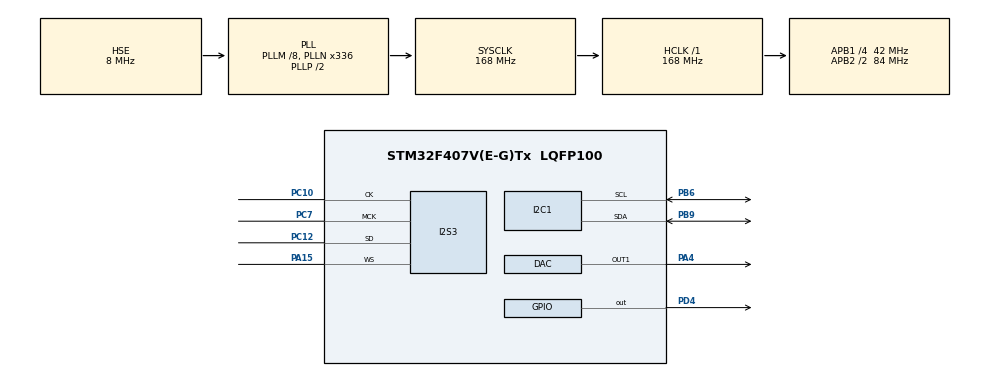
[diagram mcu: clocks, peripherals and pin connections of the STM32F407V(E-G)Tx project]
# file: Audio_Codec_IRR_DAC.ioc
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Dma.Request0=SPI3_TX
Dma.SPI3_TX.0.Direction=DMA_MEMORY_TO_PERIPH
Dma.SPI3_TX.0.FIFOMode=DMA_FIFOMODE_ENABLE
Dma.SPI3_TX.0.FIFOThreshold=DMA_FIFO_THRESHOLD_FULL
Dma.SPI3_TX.0.Instance=DMA1_Stream5
Dma.SPI3_TX.0.MemBurst=DMA_MBURST_SINGLE
Dma.SPI3_TX.0.MemDataAlignment=DMA_MDATAALIGN_HALFWORD
Dma.SPI3_TX.0.MemInc=DMA_MINC_ENABLE
Dma.SPI3_TX.0.Mode=DMA_CIRCULAR
Dma.SPI3_TX.0.PeriphBurst=DMA_PBURST_SINGLE
Dma.SPI3_TX.0.PeriphDataAlignment=DMA_PDATAALIGN_HALFWORD
Dma.SPI3_TX.0.PeriphInc=DMA_PINC_DISABLE
Dma.SPI3_TX.0.Priority=DMA_PRIORITY_LOW
I2S3.AudioFreq=I2S_AUDIOFREQ_48K
I2S3.ErrorAudioFreq=-2.34 %
I2S3.FullDuplexMode=I2S_FULLDUPLEXMODE_DISABLE
I2S3.Instance=SPI$Index
I2S3.RealAudioFreq=46.875 KHz
I2S3.VirtualMode=I2S_MODE_MASTER
Mcu.Family=STM32F4
Mcu.Name=STM32F407V(E-G)Tx
Mcu.Package=LQFP100
NVIC.DMA1_Stream5_IRQn=true\:0\:0\:false\:false\:true\:false\:true
NVIC.PriorityGroup=NVIC_PRIORITYGROUP_0
NVIC.TIM2_IRQn=true\:0\:0\:false\:false\:true\:true\:true
NVIC.TIM8_TRG_COM_TIM14_IRQn=true\:0\:0\:false\:false\:true\:false\:true
NVIC.TimeBase=TIM8_TRG_COM_TIM14_IRQn
NVIC.TimeBaseIP=TIM14
PA15.Mode=Half_Duplex_Master
PA15.Signal=I2S3_WS
PA4.Signal=COMP_DAC1_group
PB6.Mode=I2C
PB6.Signal=I2C1_SCL
PB9.Mode=I2C
PB9.Signal=I2C1_SDA
PC10.Mode=Half_Duplex_Master
PC10.Signal=I2S3_CK
PC12.Mode=Half_Duplex_Master
PC12.Signal=I2S3_SD
PC14-OSC32_IN.Mode=LSE-External-Oscillator
PC14-OSC32_IN.Signal=RCC_OSC32_IN
PC15-OSC32_OUT.Mode=LSE-External-Oscillator
PC15-OSC32_OUT.Signal=RCC_OSC32_OUT
PC7.Mode=Master_Clock_Activated
PC7.Signal=I2S3_MCK
PD4.Signal=GPIO_Output
PH0-OSC_IN.Mode=HSE-External-Oscillator
PH0-OSC_IN.Signal=RCC_OSC_IN
PH1-OSC_OUT.Mode=HSE-External-Oscillator
PH1-OSC_OUT.Signal=RCC_OSC_OUT
ProjectManager.HeapSize=0x200
ProjectManager.StackSize=0x400
ProjectManager.TargetToolchain=STM32CubeIDE
RCC.48MHZClocksFreq_Value=48000000
RCC.AHBFreq_Value=168000000
RCC.APB1CLKDivider=RCC_HCLK_DIV4
RCC.APB1Freq_Value=42000000
RCC.APB1TimFreq_Value=84000000
RCC.APB2CLKDivider=RCC_HCLK_DIV2
RCC.APB2Freq_Value=84000000
RCC.APB2TimFreq_Value=168000000
RCC.CortexFreq_Value=168000000
RCC.HCLKFreq_Value=168000000
RCC.HSE_VALUE=8000000
RCC.HSI_VALUE=16000000
RCC.PLLM=8
RCC.PLLN=336
RCC.PLLQ=7
RCC.PLLSourceVirtual=RCC_PLLSOURCE_HSE
RCC.SYSCLKFreq_VALUE=168000000
RCC.SYSCLKSource=RCC_SYSCLKSOURCE_PLLCLK
RCC.VCOOutputFreq_Value=336000000
SH.COMP_DAC1_group.0=DAC_OUT1,DAC_OUT1
TIM2.Period=20-1
TIM2.Prescaler=84-1
TIM2.TIM_MasterOutputTrigger=TIM_TRGO_UPDATE
VP_SYS_VS_tim14.Mode=TIM14
VP_TIM2_VS_ClockSourceINT.Mode=Internal
board=STM32F407G-DISC1

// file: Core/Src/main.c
/* USER CODE BEGIN Header */
/**
  ******************************************************************************
  * @file           : main.c
  * @brief          : Main program body
  ******************************************************************************
  * @attention
  *
  * <h2><center>&copy; Copyright (c) 2023 STMicroelectronics.
  * All rights reserved.</center></h2>
  *
  * This software component is licensed by ST under BSD 3-Clause license,
  * the "License"; You may not use this file except in compliance with the
  * License. You may obtain a copy of the License at:
  *                        opensource.org/licenses/BSD-3-Clause
  *
  ******************************************************************************
  */
/* USER CODE END Header */
#include "main.h"
#include "stm32f4xx_hal.h"
/* USER CODE BEGIN Includes */
#include "MY_CS43L22.h"
#include <math.h>
/* USER CODE END Includes */

DAC_HandleTypeDef hdac;

I2C_HandleTypeDef hi2c1;

I2S_HandleTypeDef hi2s3;
DMA_HandleTypeDef hdma_spi3_tx;

TIM_HandleTypeDef htim2;

/* USER CODE BEGIN PV */
#define PI 3.14159f

//Sample rate and Output freq
#define F_SAMPLE	48000.0f
#define F_OUT		1500.0f
/* USER CODE END PV */

void SystemClock_Config(void);
static void MX_GPIO_Init(void);
static void MX_DMA_Init(void);
static void MX_DAC_Init(void);
static void MX_I2C1_Init(void);
static void MX_I2S3_Init(void);
static void MX_TIM2_Init(void);

/* USER CODE BEGIN 0 */
float mySinVal;
float sample_dt;
uint16_t sample_N;
uint16_t i_t;

uint32_t myDacVal;

/* USER CODE END 0 */

int main(void)
{
  /* USER CODE BEGIN 1 */
	sample_dt = F_OUT/F_SAMPLE;
	sample_N = F_SAMPLE/F_OUT;
  /* USER CODE END 1 */

  /* MCU Configuration--------------------------------------------------------*/

  /* Reset of all peripherals, Initializes the Flash interface and the Systick. */
  HAL_Init();

  /* Configure the system clock */
  SystemClock_Config();

  /* Initialize all configured peripherals */
  MX_GPIO_Init();
  MX_DMA_Init();
  MX_DAC_Init();
  MX_I2C1_Init();
  MX_I2S3_Init();
  MX_TIM2_Init();
  /* USER CODE BEGIN 2 */
  CS43_Init(hi2c1, MODE_ANALOG_43);
  CS43_SetVolume(50);
  CS43_Enable_RightLeft(CS43_RIGHT_LEFT);
  CS43_Start();
	//Start DAC
		HAL_DAC_Start(&hdac, DAC_CHANNEL_1);
	//Start TIM2
    	HAL_TIM_Base_Start_IT(&htim2);
  /* USER CODE END 2 */

  /* Infinite loop */
  while (1)
  {

  }
}

void SystemClock_Config(void)
{
  RCC_OscInitTypeDef RCC_OscInitStruct = {0};
  RCC_ClkInitTypeDef RCC_ClkInitStruct = {0};

  /** Configure the main internal regulator output voltage
  */
  __HAL_RCC_PWR_CLK_ENABLE();
  __HAL_PWR_VOLTAGESCALING_CONFIG(PWR_REGULATOR_VOLTAGE_SCALE1);
  /** Initializes the RCC Oscillators according to the specified parameters
  * in the RCC_OscInitTypeDef structure.
  */
  RCC_OscInitStruct.OscillatorType = RCC_OSCILLATORTYPE_HSE;
  RCC_OscInitStruct.HSEState = RCC_HSE_ON;
  RCC_OscInitStruct.PLL.PLLState = RCC_PLL_ON;
  RCC_OscInitStruct.PLL.PLLSource = RCC_PLLSOURCE_HSE;
  RCC_OscInitStruct.PLL.PLLM = 8;
  RCC_OscInitStruct.PLL.PLLN = 336;
  RCC_OscInitStruct.PLL.PLLP = RCC_PLLP_DIV2;
  RCC_OscInitStruct.PLL.PLLQ = 7;
  if (HAL_RCC_OscConfig(&RCC_OscInitStruct) != HAL_OK)
  {
    Error_Handler();
  }
  /** Initializes the CPU, AHB and APB buses clocks
  */
  RCC_ClkInitStruct.ClockType = RCC_CLOCKTYPE_HCLK|RCC_CLOCKTYPE_SYSCLK
                              |RCC_CLOCKTYPE_PCLK1|RCC_CLOCKTYPE_PCLK2;
  RCC_ClkInitStruct.SYSCLKSource = RCC_SYSCLKSOURCE_PLLCLK;
  RCC_ClkInitStruct.AHBCLKDivider = RCC_SYSCLK_DIV1;
  RCC_ClkInitStruct.APB1CLKDivider = RCC_HCLK_DIV4;
  RCC_ClkInitStruct.APB2CLKDivider = RCC_HCLK_DIV2;

  if (HAL_RCC_ClockConfig(&RCC_ClkInitStruct, FLASH_LATENCY_5) != HAL_OK)
  {
    Error_Handler();
  }
}

static void MX_DAC_Init(void)
{

  DAC_ChannelConfTypeDef sConfig = {0};

  /** DAC Initialization
  */
  hdac.Instance = DAC;
  if (HAL_DAC_Init(&hdac) != HAL_OK)
  {
    Error_Handler();
  }
  /** DAC channel OUT1 config
  */
  sConfig.DAC_Trigger = DAC_TRIGGER_NONE;
  sConfig.DAC_OutputBuffer = DAC_OUTPUTBUFFER_ENABLE;
  if (HAL_DAC_ConfigChannel(&hdac, &sConfig, DAC_CHANNEL_1) != HAL_OK)
  {
    Error_Handler();
  }

}

static void MX_I2C1_Init(void)
{

  hi2c1.Instance = I2C1;
  hi2c1.Init.ClockSpeed = 100000;
  hi2c1.Init.DutyCycle = I2C_DUTYCYCLE_2;
  hi2c1.Init.OwnAddress1 = 0;
  hi2c1.Init.AddressingMode = I2C_ADDRESSINGMODE_7BIT;
  hi2c1.Init.DualAddressMode = I2C_DUALADDRESS_DISABLE;
  hi2c1.Init.OwnAddress2 = 0;
  hi2c1.Init.GeneralCallMode = I2C_GENERALCALL_DISABLE;
  hi2c1.Init.NoStretchMode = I2C_NOSTRETCH_DISABLE;
  if (HAL_I2C_Init(&hi2c1) != HAL_OK)
  {
    Error_Handler();
  }

}

static void MX_I2S3_Init(void)
{

  hi2s3.Instance = SPI3;
  hi2s3.Init.Mode = I2S_MODE_MASTER_TX;
  hi2s3.Init.Standard = I2S_STANDARD_PHILIPS;
  hi2s3.Init.DataFormat = I2S_DATAFORMAT_16B;
  hi2s3.Init.MCLKOutput = I2S_MCLKOUTPUT_ENABLE;
  hi2s3.Init.AudioFreq = I2S_AUDIOFREQ_48K;
  hi2s3.Init.CPOL = I2S_CPOL_LOW;
  hi2s3.Init.ClockSource = I2S_CLOCK_PLL;
  hi2s3.Init.FullDuplexMode = I2S_FULLDUPLEXMODE_DISABLE;
  if (HAL_I2S_Init(&hi2s3) != HAL_OK)
  {
    Error_Handler();
  }

}

static void MX_TIM2_Init(void)
{

  TIM_ClockConfigTypeDef sClockSourceConfig = {0};
  TIM_MasterConfigTypeDef sMasterConfig = {0};

  htim2.Instance = TIM2;
  htim2.Init.Prescaler = 84-1;
  htim2.Init.CounterMode = TIM_COUNTERMODE_UP;
  htim2.Init.Period = 20-1;
  htim2.Init.ClockDivision = TIM_CLOCKDIVISION_DIV1;
  htim2.Init.AutoReloadPreload = TIM_AUTORELOAD_PRELOAD_DISABLE;
  if (HAL_TIM_Base_Init(&htim2) != HAL_OK)
  {
    Error_Handler();
  }
  sClockSourceConfig.ClockSource = TIM_CLOCKSOURCE_INTERNAL;
  if (HAL_TIM_ConfigClockSource(&htim2, &sClockSourceConfig) != HAL_OK)
  {
    Error_Handler();
  }
  sMasterConfig.MasterOutputTrigger = TIM_TRGO_UPDATE;
  sMasterConfig.MasterSlaveMode = TIM_MASTERSLAVEMODE_DISABLE;
  if (HAL_TIMEx_MasterConfigSynchronization(&htim2, &sMasterConfig) != HAL_OK)
  {
    Error_Handler();
  }

}

static void MX_DMA_Init(void)
{

  /* DMA controller clock enable */
  __HAL_RCC_DMA1_CLK_ENABLE();

  /* DMA interrupt init */
  /* DMA1_Stream5_IRQn interrupt configuration */
  HAL_NVIC_SetPriority(DMA1_Stream5_IRQn, 0, 0);
  HAL_NVIC_EnableIRQ(DMA1_Stream5_IRQn);

}

static void MX_GPIO_Init(void)
{
  GPIO_InitTypeDef GPIO_InitStruct = {0};

  /* GPIO Ports Clock Enable */
  __HAL_RCC_GPIOC_CLK_ENABLE();
  __HAL_RCC_GPIOH_CLK_ENABLE();
  __HAL_RCC_GPIOA_CLK_ENABLE();
  __HAL_RCC_GPIOD_CLK_ENABLE();
  __HAL_RCC_GPIOB_CLK_ENABLE();

  /*Configure GPIO pin Output Level */
  HAL_GPIO_WritePin(GPIOD, GPIO_PIN_4, GPIO_PIN_RESET);

  /*Configure GPIO pin : PD4 */
  GPIO_InitStruct.Pin = GPIO_PIN_4;
  GPIO_InitStruct.Mode = GPIO_MODE_OUTPUT_PP;
  GPIO_InitStruct.Pull = GPIO_NOPULL;
  GPIO_InitStruct.Speed = GPIO_SPEED_FREQ_LOW;
  HAL_GPIO_Init(GPIOD, &GPIO_InitStruct);

}

/* USER CODE BEGIN 4 */
void HAL_TIM_PeriodElapsedCallback(TIM_HandleTypeDef *htim)
{
  /* Prevent unused argument(s) compilation warning */
  UNUSED(htim);
  /* NOTE : This function Should not be modified, when the callback is needed,
            the __HAL_TIM_PeriodElapsedCallback could be implemented in the user file
   */

	if(htim->Instance == TIM2)
	{
		mySinVal = sinf(i_t * 2 * PI * sample_dt);

		myDacVal = (mySinVal + 1)*127;

		HAL_DAC_SetValue(&hdac, DAC_CHANNEL_1, DAC_ALIGN_8B_R, myDacVal);

		i_t++;
		if(i_t>= sample_N) i_t = 0;
	}

}
/* USER CODE END 4 */

void Error_Handler(void)
{
  __disable_irq();
  while (1)
  {
  }
}

/************************ (C) COPYRIGHT STMicroelectronics *****END OF FILE****/
